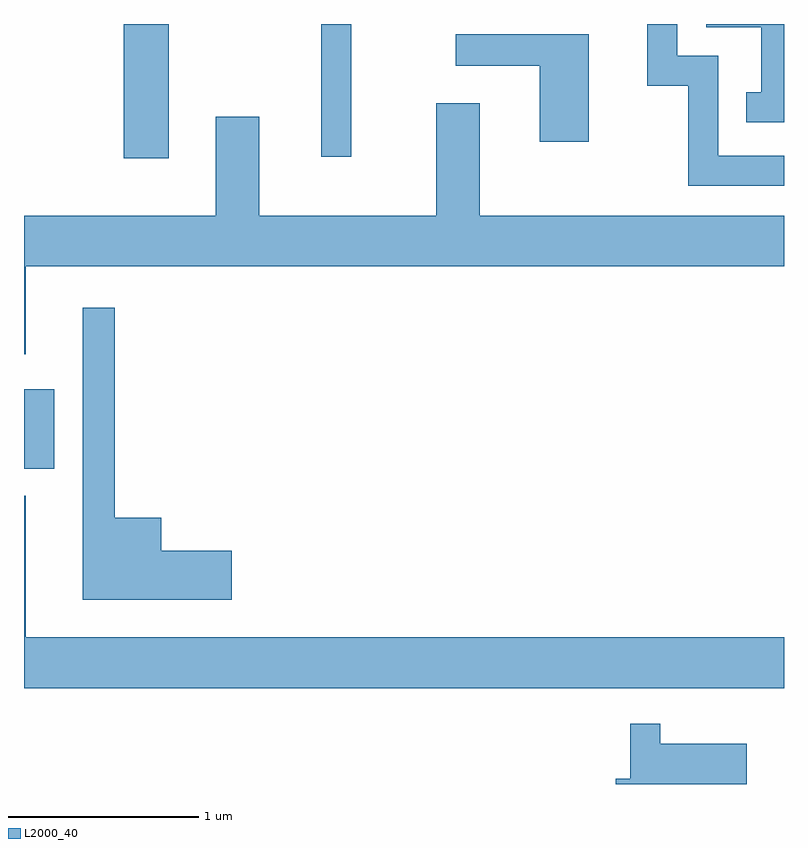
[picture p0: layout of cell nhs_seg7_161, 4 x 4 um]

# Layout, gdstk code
import gdstk
lib = gdstk.Library(unit=1e-6, precision=1e-09)
def R(c, l, rs):  # rectangles x0, y0, x1, y1
    for r in rs: c.add(gdstk.rectangle(r[:2], r[2:], *l))
def P(c, l, *ps):  # polygons
    for p in ps: c.add(gdstk.Polygon(p, *l))
L2000_40 = (2000, 40)

nhs_seg7_161 = lib.new_cell('nhs_seg7_161')
R(nhs_seg7_161, L2000_40, [(189.611,1719.911,189.769,1720.329), (190.136,1721.546,190.374,1722.252), (191.176,1721.553,191.334,1722.252)])
P(nhs_seg7_161, L2000_40, [(193.611,1722.252),(193.201,1722.252),(193.201,1722.236),(193.491,1722.236),(193.491,1721.894),(193.413,1721.894),(193.413,1721.736),(193.611,1721.736)],
  [(193.611,1721.559),(193.264,1721.559),(193.264,1722.084),(193.049,1722.084),(193.049,1722.252),(192.891,1722.252),(192.891,1721.926),(193.106,1721.926),(193.106,1721.401),(193.611,1721.401)],
  [(192.584,1722.199),(191.883,1722.199),(191.883,1722.031),(192.326,1722.031),(192.326,1721.631),(192.584,1721.631)],
  [(189.619,1720.976),(193.611,1720.976),(193.611,1721.244),(192.009,1721.244),(192.009,1721.834),(191.781,1721.834),(191.781,1721.244),(190.849,1721.244),(190.849,1721.764),(190.621,1721.764),(190.621,1721.244),(189.611,1721.244),(189.611,1720.513),(189.619,1720.513)],
  [(190.704,1719.479),(190.334,1719.479),(190.334,1719.654),(190.089,1719.654),(190.089,1720.758),(189.921,1720.758),(189.921,1719.221),(190.704,1719.221)],
  [(193.611,1719.024),(189.619,1719.024),(189.619,1719.768),(189.611,1719.768),(189.611,1718.756),(193.611,1718.756)],
  [(193.414,1718.464),(192.959,1718.464),(192.959,1718.568),(192.801,1718.568),(192.801,1718.279),(192.726,1718.279),(192.726,1718.252),(193.414,1718.252)])

lib.write_gds('nhs_seg7_161.gds')
